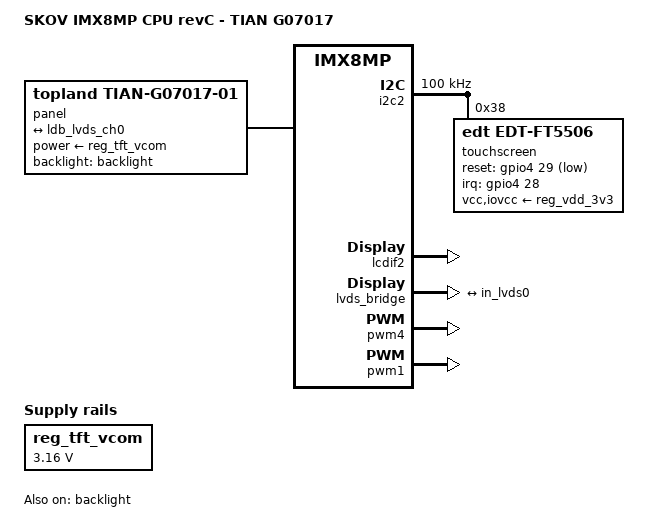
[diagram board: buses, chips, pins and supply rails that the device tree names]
// SPDX-License-Identifier: (GPL-2.0 OR MIT)

/dts-v1/;

#include "imx8mp-skov-reva.dtsi"

/ {
	model = "SKOV IMX8MP CPU revC - TIAN G07017";
	compatible = "skov,imx8mp-skov-revc-tian-g07017", "fsl,imx8mp";

	panel {
		compatible = "topland,tian-g07017-01";
		backlight = <&backlight>;
		power-supply = <&reg_tft_vcom>;

		port {
			in_lvds0: endpoint {
				remote-endpoint = <&ldb_lvds_ch0>;
			};
		};
	};
};

&backlight {
	status = "okay";
};

&i2c2 {
	clock-frequency = <100000>;
	status = "okay";

	touchscreen@38 {
		compatible = "edt,edt-ft5506";
		reg = <0x38>;
		pinctrl-names = "default";
		pinctrl-0 = <&pinctrl_touchscreen>;
		interrupts-extended = <&gpio4 28 IRQ_TYPE_EDGE_FALLING>;
		reset-gpios = <&gpio4 29 GPIO_ACTIVE_LOW>;
		touchscreen-size-x = <1024>;
		touchscreen-size-y = <600>;
		vcc-supply = <&reg_vdd_3v3>;
		iovcc-supply = <&reg_vdd_3v3>;
		wakeup-source;
	};
};

&lcdif2 {
	status = "okay";
};

&lvds_bridge {
	assigned-clocks = <&clk IMX8MP_CLK_MEDIA_LDB>,
				 <&clk IMX8MP_VIDEO_PLL1>;
	assigned-clock-parents = <&clk IMX8MP_VIDEO_PLL1_OUT>;
	/* IMX8MP_VIDEO_PLL1 = IMX8MP_CLK_MEDIA_DISP2_PIX * 2 * 7 */
	assigned-clock-rates = <0>, <358400000>;
	status = "okay";

	ports {
		port@1 {
			ldb_lvds_ch0: endpoint {
				remote-endpoint = <&in_lvds0>;
			};
		};
	};
};

&pwm4 {
	status = "okay";
};

&pwm1 {
	status = "okay";
};

&reg_tft_vcom {
	regulator-min-microvolt = <3160000>;
	regulator-max-microvolt = <3160000>;
	voltage-table = <3160000 73>;
	status = "okay";
};
